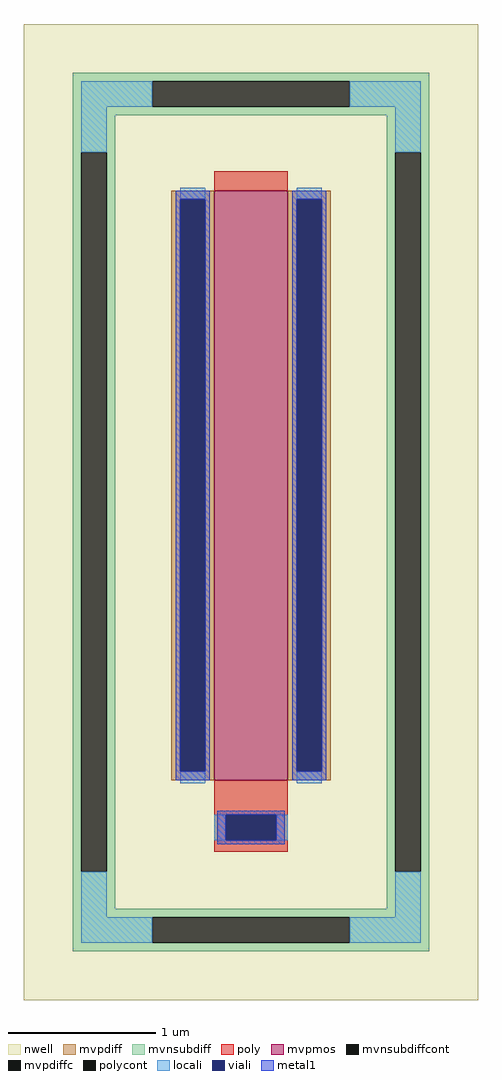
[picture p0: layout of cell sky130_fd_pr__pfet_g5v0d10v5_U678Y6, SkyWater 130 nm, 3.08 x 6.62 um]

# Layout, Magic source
magic
tech sky130A
magscale 1 2
<< nwell >>
rect -308 -662 308 662
<< mvpmos >>
rect -50 -364 50 436
<< mvpdiff >>
rect -108 424 -50 436
rect -108 -352 -96 424
rect -62 -352 -50 424
rect -108 -364 -50 -352
rect 50 424 108 436
rect 50 -352 62 424
rect 96 -352 108 424
rect 50 -364 108 -352
<< mvpdiffc >>
rect -96 -352 -62 424
rect 62 -352 96 424
<< mvnsubdiff >>
rect -242 584 242 596
rect -242 550 -134 584
rect 134 550 242 584
rect -242 538 242 550
rect -242 488 -184 538
rect -242 -488 -230 488
rect -196 -488 -184 488
rect 184 488 242 538
rect -242 -538 -184 -488
rect 184 -488 196 488
rect 230 -488 242 488
rect 184 -538 242 -488
rect -242 -550 242 -538
rect -242 -584 -134 -550
rect 134 -584 242 -550
rect -242 -596 242 -584
<< mvnsubdiffcont >>
rect -134 550 134 584
rect -230 -488 -196 488
rect 196 -488 230 488
rect -134 -584 134 -550
<< poly >>
rect -50 436 50 462
rect -50 -411 50 -364
rect -50 -445 -34 -411
rect 34 -445 50 -411
rect -50 -461 50 -445
<< polycont >>
rect -34 -445 34 -411
<< locali >>
rect -230 550 -134 584
rect 134 550 230 584
rect -230 488 -196 550
rect 196 488 230 550
rect -96 424 -62 440
rect -96 -368 -62 -352
rect 62 424 96 440
rect 62 -368 96 -352
rect -50 -445 -34 -411
rect 34 -445 50 -411
rect -230 -550 -196 -488
rect 196 -550 230 -488
rect -230 -584 -134 -550
rect 134 -584 230 -550
<< viali >>
rect -96 -352 -62 424
rect 62 -352 96 424
rect -34 -445 34 -411
<< metal1 >>
rect -102 424 -56 436
rect -102 -352 -96 424
rect -62 -352 -56 424
rect -102 -364 -56 -352
rect 56 424 102 436
rect 56 -352 62 424
rect 96 -352 102 424
rect 56 -364 102 -352
rect -46 -411 46 -405
rect -46 -445 -34 -411
rect 34 -445 46 -411
rect -46 -451 46 -445
<< properties >>
string FIXED_BBOX -213 -567 213 567
string gencell sky130_fd_pr__pfet_g5v0d10v5
string library sky130
string parameters w 4.0 l 0.5 m 1 nf 1 diffcov 100 polycov 100 guard 1 glc 1 grc 1 gtc 1 gbc 1 tbcov 100 rlcov 100 topc 0 botc 1 poverlap 0 doverlap 1 lmin 0.50 wmin 0.42 compatible {sky130_fd_pr__pfet_01v8  sky130_fd_pr__pfet_01v8_lvt sky130_fd_pr__pfet_01v8_hvt  sky130_fd_pr__pfet_g5v0d10v5} full_metal 1 viasrc 100 viadrn 100 viagate 100 viagb 0 viagr 0 viagl 0 viagt 0
<< end >>
